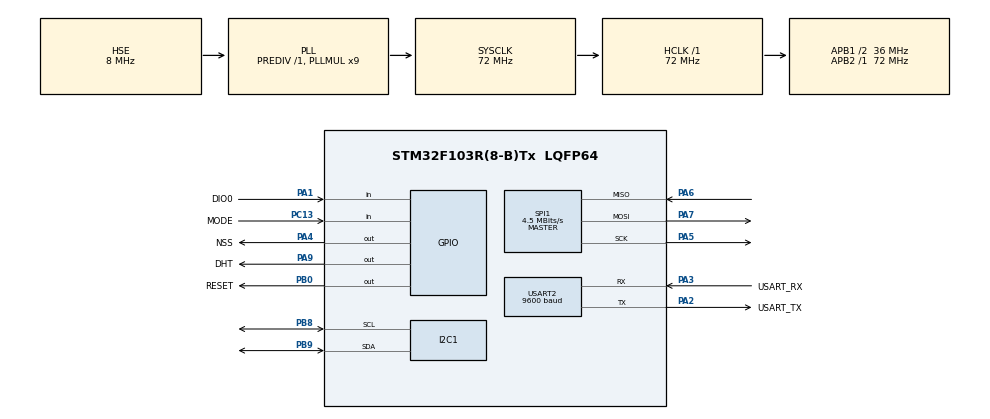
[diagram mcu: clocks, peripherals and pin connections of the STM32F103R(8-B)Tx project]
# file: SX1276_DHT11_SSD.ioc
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I2C1.I2C_Mode=I2C_Fast
Mcu.Family=STM32F1
Mcu.Name=STM32F103R(8-B)Tx
Mcu.Package=LQFP64
NVIC.PriorityGroup=NVIC_PRIORITYGROUP_4
NVIC.USART2_IRQn=true\:0\:0\:false\:false\:true\:true\:true\:true
PA1.GPIO_Label=DIO0
PA1.Signal=GPIO_Input
PA13.GPIO_Label=TMS
PA13.Mode=Serial_Wire
PA13.Signal=SYS_JTMS-SWDIO
PA14.GPIO_Label=TCK
PA14.Mode=Serial_Wire
PA14.Signal=SYS_JTCK-SWCLK
PA2.GPIO_Label=USART_TX
PA2.GPIO_Mode=GPIO_MODE_AF_PP
PA2.GPIO_PuPd=GPIO_NOPULL
PA2.GPIO_Speed=GPIO_SPEED_FREQ_LOW
PA2.Mode=Asynchronous
PA2.Signal=USART2_TX
PA3.GPIO_Label=USART_RX
PA3.GPIO_Mode=GPIO_MODE_AF_PP
PA3.GPIO_PuPd=GPIO_NOPULL
PA3.GPIO_Speed=GPIO_SPEED_FREQ_LOW
PA3.Mode=Asynchronous
PA3.Signal=USART2_RX
PA4.GPIO_Label=NSS
PA4.PinState=GPIO_PIN_SET
PA4.Signal=GPIO_Output
PA5.Mode=Full_Duplex_Master
PA5.Signal=SPI1_SCK
PA6.Mode=Full_Duplex_Master
PA6.Signal=SPI1_MISO
PA7.Mode=Full_Duplex_Master
PA7.Signal=SPI1_MOSI
PA9.GPIO_Label=DHT
PA9.PinState=GPIO_PIN_SET
PA9.Signal=GPIO_Output
PB0.GPIO_Label=RESET
PB0.PinState=GPIO_PIN_SET
PB0.Signal=GPIO_Output
PB3.GPIO_Label=SWO
PB3.Signal=SYS_JTDO-TRACESWO
PB8.Mode=I2C
PB8.Signal=I2C1_SCL
PB9.Mode=I2C
PB9.Signal=I2C1_SDA
PC13-TAMPER-RTC.GPIO_Label=MODE
PC13-TAMPER-RTC.Signal=GPIO_Input
PC14-OSC32_IN.Mode=LSE-External-Oscillator
PC14-OSC32_IN.Signal=RCC_OSC32_IN
PC15-OSC32_OUT.Mode=LSE-External-Oscillator
PC15-OSC32_OUT.Signal=RCC_OSC32_OUT
PD0-OSC_IN.Mode=HSE-External-Clock-Source
PD0-OSC_IN.Signal=RCC_OSC_IN
PD1-OSC_OUT.Mode=HSE-External-Clock-Source
PD1-OSC_OUT.Signal=RCC_OSC_OUT
ProjectManager.HeapSize=0x200
ProjectManager.StackSize=0x400
ProjectManager.TargetToolchain=STM32CubeIDE
RCC.AHBFreq_Value=72000000
RCC.APB1CLKDivider=RCC_HCLK_DIV2
RCC.APB1Freq_Value=36000000
RCC.APB1TimFreq_Value=72000000
RCC.APB2Freq_Value=72000000
RCC.APB2TimFreq_Value=72000000
RCC.HCLKFreq_Value=72000000
RCC.PLLMUL=RCC_PLL_MUL9
RCC.PLLSourceVirtual=RCC_PLLSOURCE_HSE
RCC.RTCClockSelection=RCC_RTCCLKSOURCE_LSE
RCC.SYSCLKFreq_VALUE=72000000
RCC.SYSCLKSource=RCC_SYSCLKSOURCE_PLLCLK
RCC.USBFreq_Value=72000000
SPI1.BaudRatePrescaler=SPI_BAUDRATEPRESCALER_16
SPI1.CalculateBaudRate=4.5 MBits/s
SPI1.Direction=SPI_DIRECTION_2LINES
SPI1.Mode=SPI_MODE_MASTER
SPI1.VirtualType=VM_MASTER
TIM1.Prescaler=72-1
USART2.BaudRate=9600
USART2.VirtualMode=VM_ASYNC
VP_TIM1_VS_ClockSourceINT.Mode=Internal
board=NUCLEO-F103RB

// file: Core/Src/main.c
/* USER CODE BEGIN Header */
/**
  ******************************************************************************
  * @file           : main.c
  * @brief          : Main program body
  * @brief			: 로라 엔드 노드 (transmitter)
  * @author			: C J R Y U | 2sanghaesea
  ******************************************************************************
  * @attention
  *
  * Copyright (c) 2024 STMicroelectronics.
  * All rights reserved.
  *
  * This software is licensed under terms that can be found in the LICENSE file
  * in the root directory of this software component.
  * If no LICENSE file comes with this software, it is provided AS-IS.
  *
  ******************************************************************************
  */
/* USER CODE END Header */
#include "main.h"
#include "i2c.h"
#include "spi.h"
#include "tim.h"
#include "usart.h"
#include "gpio.h"

/* USER CODE BEGIN Includes */
#include <stdio.h>
#include <string.h>
#include "fonts.h"
#include "ssd1306.h"
#include <SX1276.h>
/* USER CODE END Includes */

void SystemClock_Config(void);
/* USER CODE BEGIN PFP */
int _write(int file, char *ptr, int len) {
    int i;
    HAL_UART_Transmit(&huart2, (uint8_t*) ptr, len, 50);
    for (i = 0; i < len; i++) {
        ITM_SendChar(*ptr++);
    }
    return len;
}
/* USER CODE END PFP */

/* USER CODE BEGIN 0 */
//sx1276 코드 ----------------------------------------------------------------
SX1276_hw_t SX1276_hw;     // SX1276 hardware configuration struct
SX1276_t SX1276;           // SX1276 LoRa module struct

int ret;

char buffer[512];

int message;
int message_length;

//DHT11 센서 코드 -------------------------------------------------------------
void delay_us(uint16_t time) {
	__HAL_TIM_SET_COUNTER(&htim1, 0);
	while((__HAL_TIM_GET_COUNTER(&htim1))<time);
}

//----- 펄스 대기 함수
int wait_pulse(int state) {
	__HAL_TIM_SET_COUNTER(&htim1, 0);
	while (HAL_GPIO_ReadPin(DHT_GPIO_Port, DHT_Pin) != state) {  // 설정한 상태로 변할 때까지 대기
		if(__HAL_TIM_GET_COUNTER(&htim1) >= 100) {              // 100us 안에 신호 들어오지 않으면 타임아웃으로 간주
			return 0;
		}
	}
	return 1;
}

// 온도, 습도 저장하는 전역변수 선언
int Temperature = 0;
int Humidity = 0;

int dht11_read (void) {
	//----- Start Signal 전송
	// 포트를 출력으로 설정
	GPIO_InitTypeDef GPIO_InitStruct = {0};
	GPIO_InitStruct.Pin = DHT_Pin;
	GPIO_InitStruct.Mode = GPIO_MODE_OUTPUT_PP;
	GPIO_InitStruct.Speed = GPIO_SPEED_FREQ_LOW;
	HAL_GPIO_Init(DHT_GPIO_Port, &GPIO_InitStruct);

	// Low 18ms, High 20us 펄스 생성
	HAL_GPIO_WritePin(DHT_GPIO_Port, DHT_Pin, 0);
	delay_us(18000);
    HAL_GPIO_WritePin(DHT_GPIO_Port, DHT_Pin, 1);
    delay_us(20);

	// 포트를 입력으로 설정
	GPIO_InitStruct.Mode = GPIO_MODE_INPUT;
	GPIO_InitStruct.Pull = GPIO_NOPULL;
	HAL_GPIO_Init(DHT_GPIO_Port, &GPIO_InitStruct);

	//----- DHT11 응답 확인
	delay_us(40);  // 40us 대기
	if(!(HAL_GPIO_ReadPin(DHT_GPIO_Port, DHT_Pin))) {   // DHT11 응답 체크(Low)
		delay_us(80);
		if(!(HAL_GPIO_ReadPin(DHT_GPIO_Port, DHT_Pin))) // 80us뒤 DHT11 High 응답 없으면 timeout으로 간주
			return -1;
	}
	if(wait_pulse(GPIO_PIN_RESET) == 0) // 데이터 전송 시작 대기
		return -1; // timeout

	//----- DHT11 데이터 읽기
	uint8_t out[5], i, j;
	for(i = 0; i < 5; i++) {               // 습도 정수자리, 습도 소수자리, 온도 정수자리, 온도 소수자리, 체크섬 순으로 읽음
		for(j = 0; j < 8; j++) {           // 하나의 데이터는 8비트로 구성되며, 최상위 비트부터 하나씩 읽기 시작함
			if(!wait_pulse(GPIO_PIN_SET))  // 데이터 전송 시작까지 대기
				return -1;

			delay_us(40);  // 40us 대기 후 High상태이면 1, Low상태이면 0 수신
			if(!(HAL_GPIO_ReadPin (DHT_GPIO_Port, DHT_Pin)))   // Low일 경우 0
				out[i] &= ~(1<<(7-j));
			else                                              // High일 경우 1
				out[i] |= (1<<(7-j));

			if(!wait_pulse(GPIO_PIN_RESET)) // 다음 데이터 전송 시작까지 대기
				return -1;
		}
	}

	//----- 체크섬 판별
	if(out[4] != (out[0] + out[1] + out[2] + out[3]))
		return -2;

	//----- 필요 데이터 분리
	Temperature = out[2];
	Humidity = out[0];

	return 1;
}
/* USER CODE END 0 */

int main(void)
{

  /* MCU Configuration--------------------------------------------------------*/

  /* Reset of all peripherals, Initializes the Flash interface and the Systick. */
  HAL_Init();

  /* Configure the system clock */
  SystemClock_Config();

  /* Initialize all configured peripherals */
  MX_GPIO_Init();
  MX_USART2_UART_Init();
  MX_SPI1_Init();
  MX_I2C1_Init();
  MX_TIM1_Init();
  /* USER CODE BEGIN 2 */

	  printf("Mode: Master\r\n");     // Print mode information
	  HAL_GPIO_WritePin(MODE_GPIO_Port, MODE_Pin, GPIO_PIN_RESET);  // Set MODE pin low for master mode

      // Initialize SX1276 LoRa module
      SX1276_hw.dio0.port = DIO0_GPIO_Port;
      SX1276_hw.dio0.pin = DIO0_Pin;
      SX1276_hw.nss.port = NSS_GPIO_Port;
      SX1276_hw.nss.pin = NSS_Pin;
      SX1276_hw.reset.port = RESET_GPIO_Port;
      SX1276_hw.reset.pin = RESET_Pin;
      SX1276_hw.spi = &hspi1;

      SX1276.hw = &SX1276_hw;

      printf("Configuring LoRa module\r\n");
      SX1276_init(&SX1276, 923100000, SX1276_POWER_20DBM, SX1276_LORA_SF_7,  // Configure LoRa module
                  SX1276_LORA_BW_125KHZ, SX1276_LORA_CR_4_5, SX1276_LORA_CRC_EN, 10);
      printf("Done configuring LoRaModule\r\n");

	  ret = SX1276_LoRaEntryTx(&SX1276, 16, 2000);     // Configure LoRa module for transmission in master mode
	  printf("Transmit Mode !\r\n");

      SSD1306_Init();
      HAL_TIM_Base_Start(&htim1);
      char h_str[15];
      char t_str[15];
  /* USER CODE END 2 */

  /* Infinite loop */
  /* USER CODE BEGIN WHILE */
  while (1)
  {

		 printf("Master ...\r\n");
		 HAL_Delay(1000);
		 printf("Connect DHT11...\r\n");

		 if(dht11_read() == 1){
			 message_length = sprintf(buffer, "Temp : %dC, Humd : %d%%.", Temperature, Humidity);
			 ret = SX1276_LoRaEntryTx(&SX1276, message_length, 2000);
			 printf("Entry: %d\r\n", ret);

			 printf("Sending %s\r\n", buffer);
			 ret = SX1276_LoRaTxPacket(&SX1276, (uint8_t*) buffer,
									   message_length, 2000);
			 printf("Transmission: %d\r\n", ret);
			 printf("Package sent...\r\n");

			 sprintf(t_str, "Temp : %d C", Temperature);
			 sprintf(h_str, "Humd : %d %%", Humidity);
			 SSD1306_GotoXY(20,0);
			 SSD1306_Puts("TRANSMIT",&Font_11x18, 1);
			 SSD1306_GotoXY(0,20);
			 SSD1306_Puts(t_str,&Font_11x18, 1);
			 SSD1306_GotoXY(0,40);
			 SSD1306_Puts(h_str,&Font_11x18, 1);
			 SSD1306_UpdateScreen();
			 HAL_Delay(100);
		 }

    /* USER CODE END WHILE */

  }
}

void SystemClock_Config(void)
{
  RCC_OscInitTypeDef RCC_OscInitStruct = {0};
  RCC_ClkInitTypeDef RCC_ClkInitStruct = {0};

  /** Initializes the RCC Oscillators according to the specified parameters
  * in the RCC_OscInitTypeDef structure.
  */
  RCC_OscInitStruct.OscillatorType = RCC_OSCILLATORTYPE_HSE;
  RCC_OscInitStruct.HSEState = RCC_HSE_BYPASS;
  RCC_OscInitStruct.HSEPredivValue = RCC_HSE_PREDIV_DIV1;
  RCC_OscInitStruct.HSIState = RCC_HSI_ON;
  RCC_OscInitStruct.PLL.PLLState = RCC_PLL_ON;
  RCC_OscInitStruct.PLL.PLLSource = RCC_PLLSOURCE_HSE;
  RCC_OscInitStruct.PLL.PLLMUL = RCC_PLL_MUL9;
  if (HAL_RCC_OscConfig(&RCC_OscInitStruct) != HAL_OK)
  {
    Error_Handler();
  }

  /** Initializes the CPU, AHB and APB buses clocks
  */
  RCC_ClkInitStruct.ClockType = RCC_CLOCKTYPE_HCLK|RCC_CLOCKTYPE_SYSCLK
                              |RCC_CLOCKTYPE_PCLK1|RCC_CLOCKTYPE_PCLK2;
  RCC_ClkInitStruct.SYSCLKSource = RCC_SYSCLKSOURCE_PLLCLK;
  RCC_ClkInitStruct.AHBCLKDivider = RCC_SYSCLK_DIV1;
  RCC_ClkInitStruct.APB1CLKDivider = RCC_HCLK_DIV2;
  RCC_ClkInitStruct.APB2CLKDivider = RCC_HCLK_DIV1;

  if (HAL_RCC_ClockConfig(&RCC_ClkInitStruct, FLASH_LATENCY_2) != HAL_OK)
  {
    Error_Handler();
  }
}

void Error_Handler(void)
{
  __disable_irq();
  while (1)
   {
   }
}
